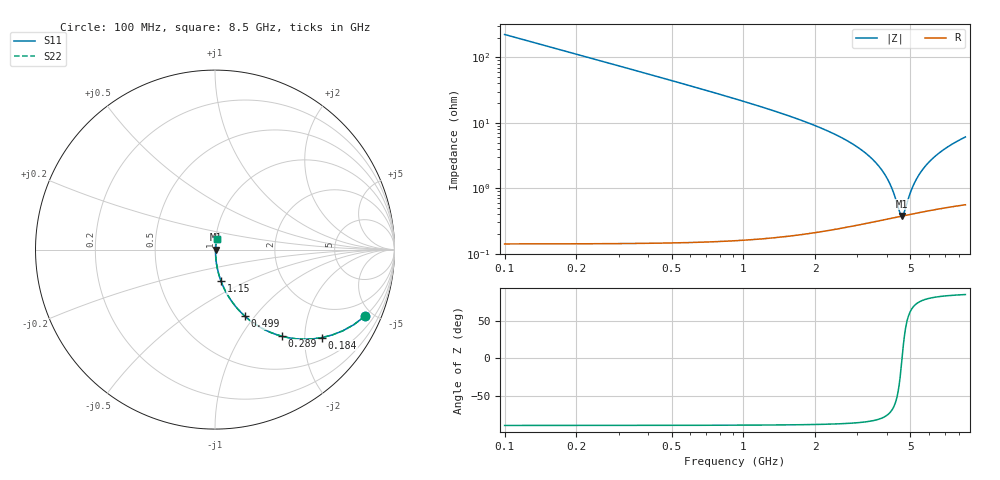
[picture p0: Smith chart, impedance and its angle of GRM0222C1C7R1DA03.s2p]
!Murata Part Number: GRM0222C1C7R1DA03
!These Parameters are Measured in Series Mode Connection
!Data Generated on Mar 30, 2021
!  o--ll--o
!Port1  Port2
!  o------o
!Operation Temp=25[degC], DC Bias Voltage=0[V]
!Freq. Start=100[MHz] Stop=9[GHz] 401[Steps]
# Hz S RI R 50
!Freq.(Hz) S11(Real) S11(Imag) S21(Real) S21(Imag) S12(Real) S12(Imag) S22(Real) S22(Imag)
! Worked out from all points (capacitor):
!   401 points, 100 MHz to 8.5 GHz, reference 50 ohm
!   read as one part in series: C = 7.1 pF near 142 MHz
!   lowest |Z| = 376 mohm at 4.615 GHz (marker M1)
!   series resonance near 4.616 GHz, so ESL is about 170 pH
!   S11 on the Smith chart (normalised r, x): 100 MHz: 1.00, -4.48; 184 MHz: 1.00, -2.43; 289 MHz: 1.00, -1.54; 499 MHz: 1.00, -0.89; 1.15 GHz: 1.00, -0.36; 8.5 GHz: 1.01, +0.12
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1e8  0.8337 -0.372  0.1663 0.372  0.1663 0.372  0.8337 -0.372
1.84e8  0.5965 -0.49  0.4035 0.49  0.4035 0.49  0.5965 -0.49
2.89e8  0.3739 -0.4829  0.6261 0.4829  0.6261 0.4829  0.3739 -0.4829
3.94e8  0.2423 -0.4272  0.7577 0.4272  0.7577 0.4272  0.2423 -0.4272
4.99e8  0.1653 -0.3698  0.8347 0.3698  0.8347 0.3698  0.1653 -0.3698
7.51e8  0.0789 -0.267  0.9211 0.267  0.9211 0.267  0.0789 -0.267
1.15e9  0.0337 -0.1759  0.9663 0.1759  0.9663 0.1759  0.0337 -0.1759
1.507e9  0.019 -0.1296  0.981 0.1296  0.981 0.1296  0.019 -0.1296
2.914e9  0.00473 -0.0454  0.9953 0.0454  0.9953 0.0454  0.00473 -0.0454
3.397e9  0.00386 -0.0296  0.9961 0.0296  0.9961 0.0296  0.00386 -0.0296
3.775e9  0.00359 -0.0192  0.9964 0.0192  0.9964 0.0192  0.00359 -0.0192
4.069e9  0.00355 -0.012  0.9964 0.012  0.9964 0.012  0.00355 -0.012
4.3e9  0.0036 -0.00669  0.9964 0.00669  0.9964 0.00669  0.0036 -0.00669
4.51e9  0.00369 -0.00218  0.9963 0.00218  0.9963 0.00218  0.00369 -0.00218
4.615e9  0.00375 -1.17e-05  0.9963 1.17e-05  0.9963 1.17e-05  0.00375 -1.17e-05
4.699e9  0.0038 0.00169  0.9962 -0.00169  0.9962 -0.00169  0.0038 0.00169
4.951e9  0.00399 0.0066  0.996 -0.0066  0.996 -0.0066  0.00399 0.0066
5.161e9  0.00418 0.0105  0.9958 -0.0105  0.9958 -0.0105  0.00418 0.0105
5.707e9  0.00477 0.02  0.9952 -0.02  0.9952 -0.02  0.00477 0.02
6.316e9  0.00557 0.0297  0.9944 -0.0297  0.9944 -0.0297  0.00557 0.0297
7.114e9  0.00676 0.0413  0.9932 -0.0413  0.9932 -0.0413  0.00676 0.0413
8.5e9  0.00916 0.0596  0.9908 -0.0596  0.9908 -0.0596  0.00916 0.0596
